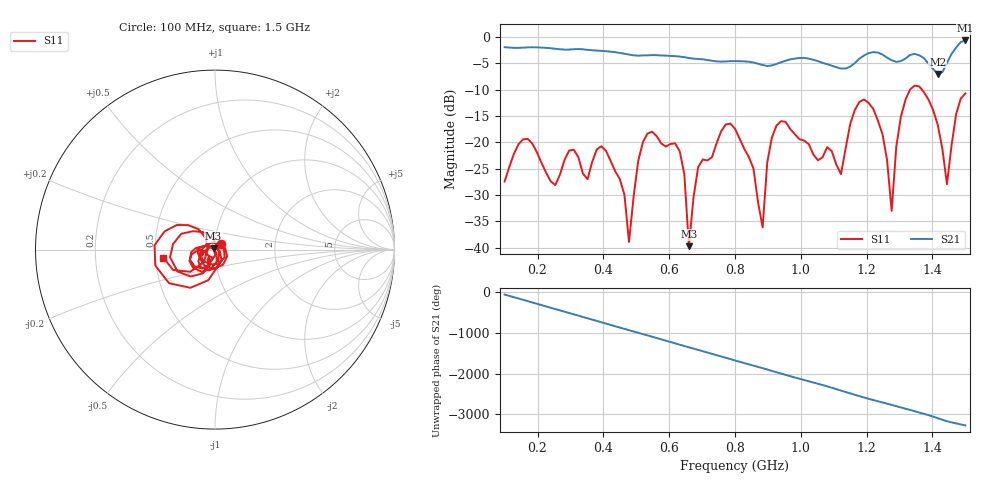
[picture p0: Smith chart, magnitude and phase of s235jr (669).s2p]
! NanoVNA-App
! Date: 2025-09-25 15:09:22
! Start: 100MHz Stop: 1,5GHz Points: 101
! S-Parameter data: F S11 S21 S12 S22
# Hz S RI R 50
!  Frequency  S11_Real  S11_Imag  S21_Real  S21_Imag  S12_Real  S12_Imag  S22_Real  S22_Imag
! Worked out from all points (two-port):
!   101 points, 100 MHz to 1.5 GHz, reference 50 ohm
!   highest |S21| = -0.69 dB at 1.5 GHz (marker M1); lowest = -7.0 dB at 1.416 GHz (marker M2)
!   |S21| within 3 dB of the highest: start of sweep to 622.7 MHz; 1.189 GHz to 1.256 GHz (67.42 MHz wide, 5.52 % of centre) (the widest 2 of 4)
!   lowest |S11| = -39.7 dB at 660 MHz (marker M3), VSWR 1.02, Z = 49.2 + j0.632 ohm
!   |S11| at or under -10 dB: start of sweep to 1.332 GHz; 1.367 GHz to end of sweep
!   S12 and S22 are empty: the file has one direction only
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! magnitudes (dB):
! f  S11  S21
! 100 MHz  -27.5  -2.0
! 156 MHz  -19.5  -2.1
! 338 MHz  -26.0  -2.4
! 408 MHz  -21.6  -2.7
! 478 MHz  -38.9  -3.4
! 520 MHz  -20.0  -3.5
! 576 MHz  -20.2  -3.5
! 632 MHz  -21.7  -3.7
! 660 MHz  -39.7  -4.0
! 688 MHz  -24.7  -4.2
! 800 MHz  -17.5  -4.6
! 884 MHz  -36.2  -5.3
! 926 MHz  -16.8  -5.1
! 1.038 GHz  -22.3  -4.4
! 1.122 GHz  -26.1  -6.0
! 1.192 GHz  -11.9  -3.5
! 1.248 GHz  -18.4  -3.4
! 1.276 GHz  -33.0  -4.5
! 1.332 GHz  -10.0  -3.4
! 1.416 GHz  -16.7  -7.0
! 1.444 GHz  -28.0  -5.0
! 1.5 GHz  -10.7  -0.7
